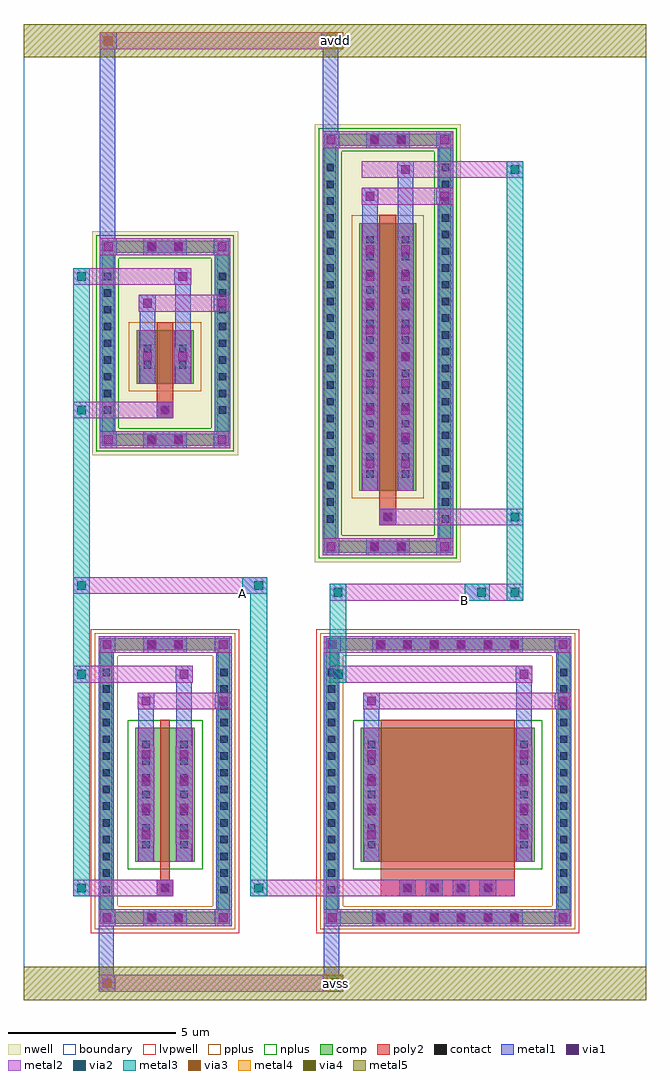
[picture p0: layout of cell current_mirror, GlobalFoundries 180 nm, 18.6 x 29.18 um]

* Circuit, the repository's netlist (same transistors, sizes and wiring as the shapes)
** sch_path: /foss/designs/CapiMagics/sch/current_mirror/current_mirror.sch
.subckt current_mirror avdd avss B A
*.PININFO Avdd:B Avss:B B:B A:B
M1 A A Avss Avss nfet_03v3 L=0.28u W=4u nf=1
M2 B A Avss Avss nfet_03v3 L=4u W=4u nf=1
M3 B B Avdd Avdd pfet_03v3 L=0.5u W=8u nf=1
M4 A A Avdd Avdd pfet_03v3 L=0.5u W=1.6u nf=1
.ends

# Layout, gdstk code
import gdstk
lib = gdstk.Library(unit=1e-6, precision=1e-09)
def R(c, l, rs):  # rectangles x0, y0, x1, y1
    for r in rs: c.add(gdstk.rectangle(r[:2], r[2:], *l))
def A(c, l, x, y, w, h, nx, ny, dx, dy):  # array of equal rectangles
    R(c, l, [(x+i*dx, y+j*dy, x+i*dx+w, y+j*dy+h) for i in range(nx) for j in range(ny)])
def P(c, l, *ps):  # polygons
    for p in ps: c.add(gdstk.Polygon(p, *l))
boundary = (0, 0)
nwell = (21, 0)
comp = (22, 0)
poly2 = (30, 0)
pplus = (31, 0)
nplus = (32, 0)
contact = (33, 0)
metal1 = (34, 0)
via1 = (35, 0)
metal2 = (36, 0)
via2 = (38, 0)
via3 = (40, 0)
via4 = (41, 0)
metal3 = (42, 0)
metal4 = (46, 0)
metal5 = (81, 0)
lvpwell = (204, 0)

c_m1 = lib.new_cell('M1')
A(c_m1, comp, -1.94, -3.43, 0.36, 0.36, 1, 14, 0, 0.5)
A(c_m1, comp, 1.58, -3.43, 0.36, 0.36, 1, 14, 0, 0.5)
R(c_m1, comp, [(-0.58,-4.265,-0.22,-3.905), (-0.58,-4.265,0.58,-3.905), (0.22,-4.265,0.58,-3.905), (-1.94,-3.43,-1.58,3.43), (1.58,-3.43,1.94,3.43), (-0.89,-2.405,0.89,1.595), (-0.58,3.905,-0.22,4.265), (-0.58,3.905,0.58,4.265), (0.22,3.905,0.58,4.265)])
P(c_m1, comp, [(-1.94,-4.265),(-1.94,-3.905),(-1.58,-3.905),(1.58,-3.905),(1.58,3.905),(-1.58,3.905),(-1.58,-3.905),(-1.94,-3.905),(-1.94,4.265),(1.94,4.265),(1.94,-4.265)])
R(c_m1, poly2, [(-0.25,-3.445,0.25,-2.945), (-0.18,-3.375,0.18,-3.015), (-0.14,-2.945,0.14,-2.645), (-0.14,-2.645,0.14,1.835)])
P(c_m1, pplus, [(-2.1,-4.425),(-2.1,-3.745),(-1.42,-3.745),(1.42,-3.745),(1.42,3.745),(-1.42,3.745),(-1.42,-3.745),(-2.1,-3.745),(-2.1,4.425),(2.1,4.425),(2.1,-4.425)])
R(c_m1, nplus, [(-1.12,-2.635,1.12,1.825)])
A(c_m1, contact, -1.87, -3.36, 0.22, 0.22, 1, 14, 0, 0.5)
A(c_m1, contact, 1.65, -3.36, 0.22, 0.22, 1, 14, 0, 0.5)
A(c_m1, contact, -0.68, -2.015, 0.22, 0.22, 1, 7, 0, 0.5)
A(c_m1, contact, 0.46, -2.015, 0.22, 0.22, 1, 7, 0, 0.5)
R(c_m1, contact, [(-0.51,-4.195,-0.29,-3.975), (0.29,-4.195,0.51,-3.975), (-0.11,-3.305,0.11,-3.085), (-0.51,3.975,-0.29,4.195), (0.29,3.975,0.51,4.195)])
A(c_m1, metal1, -1.99, -3.48, 0.46, 0.46, 1, 14, 0, 0.5)
A(c_m1, metal1, 1.53, -3.48, 0.46, 0.46, 1, 14, 0, 0.5)
A(c_m1, metal1, -0.8, -2.135, 0.46, 0.46, 1, 7, 0, 0.5)
A(c_m1, metal1, 0.34, -2.135, 0.46, 0.46, 1, 7, 0, 0.5)
A(c_m1, metal1, -0.82, -1.855, 0.5, 0.5, 1, 4, 0, 0.8)
A(c_m1, metal1, 0.32, -1.855, 0.5, 0.5, 1, 4, 0, 0.8)
R(c_m1, metal1, [(-1.99,-4.335,-1.49,-3.835), (-1.99,-4.335,-1.49,-3.835), (-1.99,-4.335,-1.53,-3.905), (-0.65,-4.335,-0.15,-3.835), (-0.65,-4.335,0.65,-3.835), (0.15,-4.335,0.65,-3.835), (1.49,-4.335,1.99,-3.835), (1.49,-4.335,1.99,-3.835), (1.53,-4.335,1.99,-3.905), (-1.99,-3.905,-1.53,3.905), (1.53,-3.905,1.99,3.905), (-0.25,-3.445,0.25,-2.945), (-0.8,-2.405,-0.34,1.595), (0.34,-2.405,0.8,1.595), (-0.82,-1.855,-0.32,1.045), (0.32,-1.855,0.82,1.045), (-0.8,1.595,-0.34,2.645), (0.34,1.595,0.8,3.445), (-0.82,2.145,-0.32,2.645), (0.32,2.945,0.82,3.445), (-1.99,3.835,-1.49,4.335), (-1.99,3.835,-1.49,4.335), (-0.65,3.835,-0.15,4.335), (-0.65,3.835,0.65,4.335), (0.15,3.835,0.65,4.335), (1.49,3.835,1.99,4.335), (1.49,3.835,1.99,4.335), (-1.99,3.905,-1.53,4.335), (1.53,3.905,1.99,4.335)])
A(c_m1, via1, -0.7, -1.735, 0.26, 0.26, 1, 4, 0, 0.8)
A(c_m1, via1, 0.44, -1.735, 0.26, 0.26, 1, 4, 0, 0.8)
R(c_m1, via1, [(-1.87,-4.215,-1.61,-3.955), (-0.53,-4.215,-0.27,-3.955), (0.27,-4.215,0.53,-3.955), (1.61,-4.215,1.87,-3.955), (-0.13,-3.325,0.13,-3.065), (-0.7,2.265,-0.44,2.525), (0.44,3.065,0.7,3.325), (-1.87,3.955,-1.61,4.215), (-0.53,3.955,-0.27,4.215), (0.27,3.955,0.53,4.215), (1.61,3.955,1.87,4.215)])
A(c_m1, metal2, -0.82, -1.855, 0.5, 0.5, 1, 4, 0, 0.8)
A(c_m1, metal2, 0.32, -1.855, 0.5, 0.5, 1, 4, 0, 0.8)
R(c_m1, metal2, [(-1.99,-4.335,-1.49,-3.835), (-1.99,-4.335,-1.49,-3.835), (-1.99,-4.335,-1.58,-3.835), (-1.58,-4.335,1.58,-3.835), (-0.65,-4.335,-0.15,-3.835), (0.15,-4.335,0.65,-3.835), (1.49,-4.335,1.99,-3.835), (1.49,-4.335,1.99,-3.835), (1.58,-4.335,1.99,-3.835), (-0.25,-3.445,0.25,-2.945), (-0.25,-3.445,0.25,-2.945), (-0.82,-2.405,-0.32,1.595), (0.32,-2.405,0.82,1.595), (-0.82,2.145,-0.32,2.645), (-0.82,2.145,0.82,2.645), (-0.82,2.945,0.82,3.445), (0.32,2.945,0.82,3.445), (-1.99,3.835,-1.49,4.335), (-1.99,3.835,-1.49,4.335), (-1.99,3.835,-1.58,4.335), (-1.58,3.835,1.58,4.335), (-0.65,3.835,-0.15,4.335), (0.15,3.835,0.65,4.335), (1.49,3.835,1.99,4.335), (1.49,3.835,1.99,4.335), (1.58,3.835,1.99,4.335)])
R(c_m1, lvpwell, [(-2.22,-4.545,2.22,4.545)])

c_m2 = lib.new_cell('M2')
A(c_m2, comp, -2.18, -4.265, 0.36, 0.36, 6, 2, 0.8, 8.17)
A(c_m2, comp, -3.65, -3.43, 0.36, 0.36, 1, 14, 0, 0.5)
A(c_m2, comp, 3.29, -3.43, 0.36, 0.36, 1, 14, 0, 0.5)
R(c_m2, comp, [(-2.18,-4.265,2.18,-3.905), (-3.65,-3.43,-3.29,3.43), (3.29,-3.43,3.65,3.43), (-2.6,-2.405,2.6,1.595), (-2.18,3.905,2.18,4.265)])
P(c_m2, comp, [(-3.65,-4.265),(-3.65,-3.905),(-3.29,-3.905),(3.29,-3.905),(3.29,3.905),(-3.29,3.905),(-3.29,-3.905),(-3.65,-3.905),(-3.65,4.265),(3.65,4.265),(3.65,-4.265)])
A(c_m2, poly2, -1.38, -3.375, 0.36, 0.36, 4, 1, 0.8, 0)
R(c_m2, poly2, [(-2,-3.445,2,-2.945), (-2,-2.945,2,-2.645), (-2,-2.645,2,1.835)])
P(c_m2, pplus, [(-3.81,-4.425),(-3.81,-3.745),(-3.13,-3.745),(3.13,-3.745),(3.13,3.745),(-3.13,3.745),(-3.13,-3.745),(-3.81,-3.745),(-3.81,4.425),(3.81,4.425),(3.81,-4.425)])
R(c_m2, nplus, [(-2.83,-2.635,2.83,1.825)])
A(c_m2, contact, -2.11, -4.195, 0.22, 0.22, 6, 2, 0.8, 8.17)
A(c_m2, contact, -3.58, -3.36, 0.22, 0.22, 1, 14, 0, 0.5)
A(c_m2, contact, 3.36, -3.36, 0.22, 0.22, 1, 14, 0, 0.5)
A(c_m2, contact, -1.31, -3.305, 0.22, 0.22, 4, 1, 0.8, 0)
A(c_m2, contact, -2.39, -2.015, 0.22, 0.22, 1, 7, 0, 0.5)
A(c_m2, contact, 2.17, -2.015, 0.22, 0.22, 1, 7, 0, 0.5)
A(c_m2, metal1, -2.25, -4.335, 0.5, 0.5, 6, 2, 0.8, 8.17)
A(c_m2, metal1, -3.7, -3.48, 0.46, 0.46, 1, 14, 0, 0.5)
A(c_m2, metal1, 3.24, -3.48, 0.46, 0.46, 1, 14, 0, 0.5)
A(c_m2, metal1, -1.45, -3.445, 0.5, 0.5, 4, 1, 0.8, 0)
A(c_m2, metal1, -2.51, -2.135, 0.46, 0.46, 1, 7, 0, 0.5)
A(c_m2, metal1, 2.05, -2.135, 0.46, 0.46, 1, 7, 0, 0.5)
A(c_m2, metal1, -2.53, -1.855, 0.5, 0.5, 1, 4, 0, 0.8)
A(c_m2, metal1, 2.03, -1.855, 0.5, 0.5, 1, 4, 0, 0.8)
R(c_m2, metal1, [(-3.7,-4.335,-3.2,-3.835), (-3.7,-4.335,-3.2,-3.835), (-3.7,-4.335,-3.24,-3.905), (-2.25,-4.335,2.25,-3.835), (3.2,-4.335,3.7,-3.835), (3.2,-4.335,3.7,-3.835), (3.24,-4.335,3.7,-3.905), (-3.7,-3.905,-3.24,3.905), (3.24,-3.905,3.7,3.905), (-2.51,-2.405,-2.05,1.595), (2.05,-2.405,2.51,1.595), (-2.53,-1.855,-2.03,1.045), (2.03,-1.855,2.53,1.045), (-2.51,1.595,-2.05,2.645), (2.05,1.595,2.51,3.445), (-2.53,2.145,-2.03,2.645), (2.03,2.945,2.53,3.445), (-3.7,3.835,-3.2,4.335), (-3.7,3.835,-3.2,4.335), (-2.25,3.835,2.25,4.335), (3.2,3.835,3.7,4.335), (3.2,3.835,3.7,4.335), (-3.7,3.905,-3.24,4.335), (3.24,3.905,3.7,4.335)])
A(c_m2, via1, -2.13, -4.215, 0.26, 0.26, 6, 2, 0.8, 8.17)
A(c_m2, via1, -1.33, -3.325, 0.26, 0.26, 4, 1, 0.8, 0)
A(c_m2, via1, -2.41, -1.735, 0.26, 0.26, 1, 4, 0, 0.8)
A(c_m2, via1, 2.15, -1.735, 0.26, 0.26, 1, 4, 0, 0.8)
R(c_m2, via1, [(-3.58,-4.215,-3.32,-3.955), (3.32,-4.215,3.58,-3.955), (-2.41,2.265,-2.15,2.525), (2.15,3.065,2.41,3.325), (-3.58,3.955,-3.32,4.215), (3.32,3.955,3.58,4.215)])
A(c_m2, metal2, -2.25, -4.335, 0.5, 0.5, 6, 2, 0.8, 8.17)
A(c_m2, metal2, -1.45, -3.445, 0.5, 0.5, 4, 1, 0.8, 0)
A(c_m2, metal2, -2.53, -1.855, 0.5, 0.5, 1, 4, 0, 0.8)
A(c_m2, metal2, 2.03, -1.855, 0.5, 0.5, 1, 4, 0, 0.8)
R(c_m2, metal2, [(-3.7,-4.335,-3.2,-3.835), (-3.7,-4.335,-3.2,-3.835), (-3.7,-4.335,-3.29,-3.835), (-3.29,-4.335,3.29,-3.835), (3.2,-4.335,3.7,-3.835), (3.2,-4.335,3.7,-3.835), (3.29,-4.335,3.7,-3.835), (-2,-3.445,2,-2.945), (-2.53,-2.405,-2.03,1.595), (2.03,-2.405,2.53,1.595), (-2.53,2.145,-2.03,2.645), (-2.53,2.145,2.53,2.645), (-2.53,2.945,2.53,3.445), (2.03,2.945,2.53,3.445), (-3.7,3.835,-3.2,4.335), (-3.7,3.835,-3.2,4.335), (-3.7,3.835,-3.29,4.335), (-3.29,3.835,3.29,4.335), (3.2,3.835,3.7,4.335), (3.2,3.835,3.7,4.335), (3.29,3.835,3.7,4.335)])
R(c_m2, lvpwell, [(-3.93,-4.545,3.93,4.545)])

c_m3 = lib.new_cell('M3')
R(c_m3, nwell, [(-2.18,-6.545,2.18,6.545), (-2.02,-6.385,2.02,6.385)])
A(c_m3, comp, -1.9, -5.43, 0.36, 0.36, 1, 22, 0, 0.5)
A(c_m3, comp, 1.54, -5.43, 0.36, 0.36, 1, 22, 0, 0.5)
R(c_m3, comp, [(-0.58,-6.265,-0.22,-5.905), (-0.58,-6.265,0.58,-5.905), (0.22,-6.265,0.58,-5.905), (-1.9,-5.43,-1.54,5.43), (1.54,-5.43,1.9,5.43), (-0.85,-4.405,0.85,3.595), (-0.58,5.905,-0.22,6.265), (-0.58,5.905,0.58,6.265), (0.22,5.905,0.58,6.265)])
P(c_m3, comp, [(-1.9,-6.265),(-1.9,-5.905),(-1.54,-5.905),(1.54,-5.905),(1.54,5.905),(-1.54,5.905),(-1.54,-5.905),(-1.9,-5.905),(-1.9,6.265),(1.9,6.265),(1.9,-6.265)])
R(c_m3, poly2, [(-0.25,-5.445,0.25,-4.945), (-0.18,-5.375,0.18,-5.015), (-0.25,-4.945,0.25,-4.645), (-0.25,-4.645,0.25,3.835)])
R(c_m3, pplus, [(-1.08,-4.635,1.08,3.825)])
P(c_m3, nplus, [(-2.06,-6.425),(-2.06,-5.745),(-1.38,-5.745),(1.38,-5.745),(1.38,5.745),(-1.38,5.745),(-1.38,-5.745),(-2.06,-5.745),(-2.06,6.425),(2.06,6.425),(2.06,-6.425)])
A(c_m3, contact, -1.83, -5.36, 0.22, 0.22, 1, 22, 0, 0.5)
A(c_m3, contact, 1.61, -5.36, 0.22, 0.22, 1, 22, 0, 0.5)
A(c_m3, contact, -0.64, -4.015, 0.22, 0.22, 1, 15, 0, 0.5)
A(c_m3, contact, 0.42, -4.015, 0.22, 0.22, 1, 15, 0, 0.5)
R(c_m3, contact, [(-0.51,-6.195,-0.29,-5.975), (0.29,-6.195,0.51,-5.975), (-0.11,-5.305,0.11,-5.085), (-0.51,5.975,-0.29,6.195), (0.29,5.975,0.51,6.195)])
A(c_m3, metal1, -1.95, -5.48, 0.46, 0.46, 1, 22, 0, 0.5)
A(c_m3, metal1, 1.49, -5.48, 0.46, 0.46, 1, 22, 0, 0.5)
A(c_m3, metal1, -0.76, -4.135, 0.46, 0.46, 1, 15, 0, 0.5)
A(c_m3, metal1, 0.3, -4.135, 0.46, 0.46, 1, 15, 0, 0.5)
A(c_m3, metal1, -0.78, -3.855, 0.5, 0.5, 1, 9, 0, 0.8)
A(c_m3, metal1, 0.28, -3.855, 0.5, 0.5, 1, 9, 0, 0.8)
R(c_m3, metal1, [(-1.95,-6.335,-1.45,-5.835), (-1.95,-6.335,-1.45,-5.835), (-1.95,-6.335,-1.49,-5.905), (-0.65,-6.335,-0.15,-5.835), (-0.65,-6.335,0.65,-5.835), (0.15,-6.335,0.65,-5.835), (1.45,-6.335,1.95,-5.835), (1.45,-6.335,1.95,-5.835), (1.49,-6.335,1.95,-5.905), (-1.95,-5.905,-1.49,5.905), (1.49,-5.905,1.95,5.905), (-0.25,-5.445,0.25,-4.945), (-0.76,-4.405,-0.3,3.595), (0.3,-4.405,0.76,3.595), (-0.78,-3.855,-0.28,3.045), (0.28,-3.855,0.78,3.045), (-0.76,3.595,-0.3,4.645), (0.3,3.595,0.76,5.445), (-0.78,4.145,-0.28,4.645), (0.28,4.945,0.78,5.445), (-1.95,5.835,-1.45,6.335), (-1.95,5.835,-1.45,6.335), (-0.65,5.835,-0.15,6.335), (-0.65,5.835,0.65,6.335), (0.15,5.835,0.65,6.335), (1.45,5.835,1.95,6.335), (1.45,5.835,1.95,6.335), (-1.95,5.905,-1.49,6.335), (1.49,5.905,1.95,6.335)])
A(c_m3, via1, -0.66, -3.735, 0.26, 0.26, 1, 9, 0, 0.8)
A(c_m3, via1, 0.4, -3.735, 0.26, 0.26, 1, 9, 0, 0.8)
R(c_m3, via1, [(-1.83,-6.215,-1.57,-5.955), (-0.53,-6.215,-0.27,-5.955), (0.27,-6.215,0.53,-5.955), (1.57,-6.215,1.83,-5.955), (-0.13,-5.325,0.13,-5.065), (-0.66,4.265,-0.4,4.525), (0.4,5.065,0.66,5.325), (-1.83,5.955,-1.57,6.215), (-0.53,5.955,-0.27,6.215), (0.27,5.955,0.53,6.215), (1.57,5.955,1.83,6.215)])
A(c_m3, metal2, -0.78, -3.855, 0.5, 0.5, 1, 9, 0, 0.8)
A(c_m3, metal2, 0.28, -3.855, 0.5, 0.5, 1, 9, 0, 0.8)
R(c_m3, metal2, [(-1.95,-6.335,-1.45,-5.835), (-1.95,-6.335,-1.45,-5.835), (-1.95,-6.335,-1.54,-5.835), (-1.54,-6.335,1.54,-5.835), (-0.65,-6.335,-0.15,-5.835), (0.15,-6.335,0.65,-5.835), (1.45,-6.335,1.95,-5.835), (1.45,-6.335,1.95,-5.835), (1.54,-6.335,1.95,-5.835), (-0.25,-5.445,0.25,-4.945), (-0.25,-5.445,0.25,-4.945), (-0.78,-4.405,-0.28,3.595), (0.28,-4.405,0.78,3.595), (-0.78,4.145,-0.28,4.645), (-0.78,4.145,0.78,4.645), (-0.78,4.945,0.78,5.445), (0.28,4.945,0.78,5.445), (-1.95,5.835,-1.45,6.335), (-1.95,5.835,-1.45,6.335), (-1.95,5.835,-1.54,6.335), (-1.54,5.835,1.54,6.335), (-0.65,5.835,-0.15,6.335), (0.15,5.835,0.65,6.335), (1.45,5.835,1.95,6.335), (1.45,5.835,1.95,6.335), (1.54,5.835,1.95,6.335)])

c_m4 = lib.new_cell('M4')
R(c_m4, nwell, [(-2.18,-3.345,2.18,3.345), (-2.02,-3.185,2.02,3.185)])
A(c_m4, comp, -1.9, -2.18, 0.36, 0.36, 1, 9, 0, 0.5)
A(c_m4, comp, 1.54, -2.18, 0.36, 0.36, 1, 9, 0, 0.5)
R(c_m4, comp, [(-0.58,-3.065,-0.22,-2.705), (-0.58,-3.065,0.58,-2.705), (0.22,-3.065,0.58,-2.705), (-1.9,-2.18,-1.54,2.18), (1.54,-2.18,1.9,2.18), (-0.85,-1.205,0.85,0.395), (-0.58,2.705,-0.22,3.065), (-0.58,2.705,0.58,3.065), (0.22,2.705,0.58,3.065)])
P(c_m4, comp, [(-1.9,-3.065),(-1.9,-2.705),(-1.54,-2.705),(1.54,-2.705),(1.54,2.705),(-1.54,2.705),(-1.54,-2.705),(-1.9,-2.705),(-1.9,3.065),(1.9,3.065),(1.9,-3.065)])
R(c_m4, poly2, [(-0.25,-2.245,0.25,-1.745), (-0.18,-2.175,0.18,-1.815), (-0.25,-1.745,0.25,-1.445), (-0.25,-1.445,0.25,0.635)])
R(c_m4, pplus, [(-1.08,-1.435,1.08,0.625)])
P(c_m4, nplus, [(-2.06,-3.225),(-2.06,-2.545),(-1.38,-2.545),(1.38,-2.545),(1.38,2.545),(-1.38,2.545),(-1.38,-2.545),(-2.06,-2.545),(-2.06,3.225),(2.06,3.225),(2.06,-3.225)])
A(c_m4, contact, -1.83, -2.11, 0.22, 0.22, 1, 9, 0, 0.5)
A(c_m4, contact, 1.61, -2.11, 0.22, 0.22, 1, 9, 0, 0.5)
R(c_m4, contact, [(-0.51,-2.995,-0.29,-2.775), (0.29,-2.995,0.51,-2.775), (-0.11,-2.105,0.11,-1.885), (-0.64,-0.765,-0.42,-0.545), (0.42,-0.765,0.64,-0.545), (-0.64,-0.265,-0.42,-0.045), (0.42,-0.265,0.64,-0.045), (-0.51,2.775,-0.29,2.995), (0.29,2.775,0.51,2.995)])
A(c_m4, metal1, -1.95, -2.23, 0.46, 0.46, 1, 9, 0, 0.5)
A(c_m4, metal1, 1.49, -2.23, 0.46, 0.46, 1, 9, 0, 0.5)
R(c_m4, metal1, [(-1.95,-3.135,-1.45,-2.635), (-1.95,-3.135,-1.45,-2.635), (-1.95,-3.135,-1.49,-2.705), (-0.65,-3.135,-0.15,-2.635), (-0.65,-3.135,0.65,-2.635), (0.15,-3.135,0.65,-2.635), (1.45,-3.135,1.95,-2.635), (1.45,-3.135,1.95,-2.635), (1.49,-3.135,1.95,-2.705), (-1.95,-2.705,-1.49,2.705), (1.49,-2.705,1.95,2.705), (-0.25,-2.245,0.25,-1.745), (-0.76,-1.205,-0.3,0.395), (0.3,-1.205,0.76,0.395), (-0.76,-0.885,-0.3,-0.425), (0.3,-0.885,0.76,-0.425), (-0.78,-0.655,-0.28,-0.155), (-0.78,-0.655,-0.28,-0.155), (0.28,-0.655,0.78,-0.155), (0.28,-0.655,0.78,-0.155), (-0.76,-0.385,-0.3,0.075), (0.3,-0.385,0.76,0.075), (-0.76,0.395,-0.3,1.445), (0.3,0.395,0.76,2.245), (-0.78,0.945,-0.28,1.445), (0.28,1.745,0.78,2.245), (-1.95,2.635,-1.45,3.135), (-1.95,2.635,-1.45,3.135), (-0.65,2.635,-0.15,3.135), (-0.65,2.635,0.65,3.135), (0.15,2.635,0.65,3.135), (1.45,2.635,1.95,3.135), (1.45,2.635,1.95,3.135), (-1.95,2.705,-1.49,3.135), (1.49,2.705,1.95,3.135)])
R(c_m4, via1, [(-1.83,-3.015,-1.57,-2.755), (-0.53,-3.015,-0.27,-2.755), (0.27,-3.015,0.53,-2.755), (1.57,-3.015,1.83,-2.755), (-0.13,-2.125,0.13,-1.865), (-0.66,-0.535,-0.4,-0.275), (0.4,-0.535,0.66,-0.275), (-0.66,1.065,-0.4,1.325), (0.4,1.865,0.66,2.125), (-1.83,2.755,-1.57,3.015), (-0.53,2.755,-0.27,3.015), (0.27,2.755,0.53,3.015), (1.57,2.755,1.83,3.015)])
R(c_m4, metal2, [(-1.95,-3.135,-1.45,-2.635), (-1.95,-3.135,-1.45,-2.635), (-1.95,-3.135,-1.54,-2.635), (-1.54,-3.135,1.54,-2.635), (-0.65,-3.135,-0.15,-2.635), (0.15,-3.135,0.65,-2.635), (1.45,-3.135,1.95,-2.635), (1.45,-3.135,1.95,-2.635), (1.54,-3.135,1.95,-2.635), (-0.25,-2.245,0.25,-1.745), (-0.25,-2.245,0.25,-1.745), (-0.78,-1.205,-0.28,0.395), (0.28,-1.205,0.78,0.395), (-0.78,-0.655,-0.28,-0.155), (0.28,-0.655,0.78,-0.155), (-0.78,0.945,-0.28,1.445), (-0.78,0.945,0.78,1.445), (-0.78,1.745,0.78,2.245), (0.28,1.745,0.78,2.245), (-1.95,2.635,-1.45,3.135), (-1.95,2.635,-1.45,3.135), (-1.95,2.635,-1.54,3.135), (-1.54,2.635,1.54,3.135), (-0.65,2.635,-0.15,3.135), (0.15,2.635,0.65,3.135), (1.45,2.635,1.95,3.135), (1.45,2.635,1.95,3.135), (1.54,2.635,1.95,3.135)])

compass_8b261e8c = lib.new_cell('compass_8b261e8c')
R(compass_8b261e8c, metal5, [(-9.3,-0.5,9.3,0.5)])

rectangle_8b261e8c = lib.new_cell('rectangle_8b261e8c')
rectangle_8b261e8c.add(gdstk.Reference(compass_8b261e8c, (9.3,0.5)))

compass_8b261e8c_1 = lib.new_cell('compass_8b261e8c$1')
R(compass_8b261e8c_1, metal5, [(-9.3,-0.5,9.3,0.5)])

rectangle_8b261e8c_1 = lib.new_cell('rectangle_8b261e8c$1')
rectangle_8b261e8c_1.add(gdstk.Reference(compass_8b261e8c_1, (9.3,0.5)))

via_stack_b843013f = lib.new_cell('via_stack_b843013f')
R(via_stack_b843013f, metal2, [(-0.25,-0.25,0.25,0.25)])
R(via_stack_b843013f, via2, [(-0.13,-0.13,0.13,0.13)])
R(via_stack_b843013f, via3, [(-0.13,-0.13,0.13,0.13)])
R(via_stack_b843013f, via4, [(-0.13,-0.13,0.13,0.13)])
R(via_stack_b843013f, metal3, [(-0.25,-0.25,0.25,0.25)])
R(via_stack_b843013f, metal4, [(-0.25,-0.25,0.25,0.25)])
R(via_stack_b843013f, metal5, [(-0.25,-0.25,0.25,0.25)])

via_stack_7490b2b5 = lib.new_cell('via_stack_7490b2b5')
R(via_stack_7490b2b5, metal2, [(-0.25,-0.25,0.25,0.25)])
R(via_stack_7490b2b5, via2, [(-0.13,-0.13,0.13,0.13)])
R(via_stack_7490b2b5, metal3, [(-0.25,-0.25,0.25,0.25)])

compass_2d1cdd23_2 = lib.new_cell('compass_2d1cdd23$2')
R(compass_2d1cdd23_2, metal3, [(-0.25,-0.25,0.25,0.25)])

rectangle_2d1cdd23 = lib.new_cell('rectangle_2d1cdd23')
rectangle_2d1cdd23.add(gdstk.Reference(compass_2d1cdd23_2, (0.25,0.25)))

compass_2d1cdd23_3 = lib.new_cell('compass_2d1cdd23$3')
R(compass_2d1cdd23_3, metal3, [(-0.25,-0.25,0.25,0.25)])

rectangle_2d1cdd23_1 = lib.new_cell('rectangle_2d1cdd23$1')
rectangle_2d1cdd23_1.add(gdstk.Reference(compass_2d1cdd23_3, (0.25,0.25)))

l_route_babc5dad = lib.new_cell('L_route_babc5dad')
R(l_route_babc5dad, metal1, [(2.27,22.34,2.73,28.93), (2.27,28.43,2.77,28.93), (2.27,28.43,2.77,28.93)])
R(l_route_babc5dad, via1, [(2.39,28.55,2.65,28.81)])
R(l_route_babc5dad, metal2, [(2.27,28.43,9.05,28.93), (2.27,28.43,2.77,28.93), (2.27,28.43,2.77,28.93)])

l_route_c3dc7d82 = lib.new_cell('L_route_c3dc7d82')
R(l_route_c3dc7d82, metal1, [(8.93,25.54,9.39,28.93), (8.89,28.43,9.39,28.93), (8.89,28.43,9.39,28.93)])
R(l_route_c3dc7d82, via1, [(9.01,28.55,9.27,28.81)])
R(l_route_c3dc7d82, metal2, [(8.89,28.43,9.39,28.93), (8.89,28.43,9.39,28.93), (9.05,28.43,9.39,28.93)])

l_route_7ceaaa28 = lib.new_cell('L_route_7ceaaa28')
R(l_route_7ceaaa28, metal1, [(2.23,0.25,2.73,0.75), (2.23,0.25,2.73,0.75), (2.23,0.25,2.69,2.64)])
R(l_route_7ceaaa28, via1, [(2.35,0.37,2.61,0.63)])
R(l_route_7ceaaa28, metal2, [(2.23,0.25,9.05,0.75), (2.23,0.25,2.73,0.75), (2.23,0.25,2.73,0.75)])

l_route_6242e444 = lib.new_cell('L_route_6242e444')
R(l_route_6242e444, metal1, [(8.93,0.25,9.43,0.75), (8.93,0.25,9.43,0.75), (8.97,0.25,9.43,2.64)])
R(l_route_6242e444, via1, [(9.05,0.37,9.31,0.63)])
R(l_route_6242e444, metal2, [(8.93,0.25,9.43,0.75), (8.93,0.25,9.43,0.75), (9.05,0.25,9.43,0.75)])

l_route_52e29371 = lib.new_cell('L_route_52e29371')
R(l_route_52e29371, metal1, [(5.67,20.58,6.17,21.08), (5.67,20.58,6.17,21.08), (5.71,20.58,6.17,22.34)])
R(l_route_52e29371, via1, [(5.79,20.7,6.05,20.96)])
R(l_route_52e29371, metal2, [(5,20.58,6.17,21.08), (5.67,20.58,6.17,21.08), (5.67,20.58,6.17,21.08)])

l_route_c11b9073 = lib.new_cell('L_route_c11b9073')
R(l_route_c11b9073, metal1, [(12.33,23.78,12.83,24.28), (12.33,23.78,12.83,24.28), (12.37,23.78,12.83,25.54)])
R(l_route_c11b9073, via1, [(12.45,23.9,12.71,24.16)])
R(l_route_c11b9073, metal2, [(11.66,23.78,12.83,24.28), (12.33,23.78,12.83,24.28), (12.33,23.78,12.83,24.28)])

l_route_99e16b85 = lib.new_cell('L_route_99e16b85')
R(l_route_99e16b85, metal1, [(5.71,8.69,6.21,9.19), (5.71,8.69,6.21,9.19), (5.75,8.69,6.21,10.45)])
R(l_route_99e16b85, via1, [(5.83,8.81,6.09,9.07)])
R(l_route_99e16b85, metal2, [(5.04,8.69,6.21,9.19), (5.71,8.69,6.21,9.19), (5.71,8.69,6.21,9.19)])

l_route_744edc86 = lib.new_cell('L_route_744edc86')
R(l_route_744edc86, metal1, [(15.87,8.69,16.37,9.19), (15.87,8.69,16.37,9.19), (15.91,8.69,16.37,10.45)])
R(l_route_744edc86, via1, [(15.99,8.81,16.25,9.07)])
R(l_route_744edc86, metal2, [(15.2,8.69,16.37,9.19), (15.87,8.69,16.37,9.19), (15.87,8.69,16.37,9.19)])

l_route_0a6f998d = lib.new_cell('L_route_0a6f998d')
R(l_route_0a6f998d, metal2, [(1.47,21.38,3.44,21.88), (1.47,21.38,1.97,21.88), (1.47,21.38,1.97,21.88)])
R(l_route_0a6f998d, via2, [(1.59,21.5,1.85,21.76)])
R(l_route_0a6f998d, metal3, [(1.47,12.64,1.97,21.88), (1.47,21.38,1.97,21.88), (1.47,21.38,1.97,21.88)])

l_route_3df3e137 = lib.new_cell('L_route_3df3e137')
R(l_route_3df3e137, metal2, [(1.47,9.49,3.4,9.99), (1.47,9.49,1.97,9.99), (1.47,9.49,1.97,9.99)])
R(l_route_3df3e137, via2, [(1.59,9.61,1.85,9.87)])
R(l_route_3df3e137, metal3, [(1.47,9.49,1.97,9.99), (1.47,9.49,1.97,9.99), (1.47,9.49,1.97,12.14)])

l_route_765d21c5 = lib.new_cell('L_route_765d21c5')
R(l_route_765d21c5, metal2, [(1.47,17.39,3.97,17.89), (1.47,17.39,1.97,17.89), (1.47,17.39,1.97,17.89)])
R(l_route_765d21c5, via2, [(1.59,17.51,1.85,17.77)])
R(l_route_765d21c5, metal3, [(1.47,12.64,1.97,17.89), (1.47,17.39,1.97,17.89), (1.47,17.39,1.97,17.89)])

l_route_40add905 = lib.new_cell('L_route_40add905')
R(l_route_40add905, metal2, [(1.47,3.1,3.97,3.6), (1.47,3.1,1.97,3.6), (1.47,3.1,1.97,3.6)])
R(l_route_40add905, via2, [(1.59,3.22,1.85,3.48)])
R(l_route_40add905, metal3, [(1.47,3.1,1.97,3.6), (1.47,3.1,1.97,3.6), (1.47,3.1,1.97,12.14)])

straight_route_1fb11910 = lib.new_cell('straight_route_1fb11910')
R(straight_route_1fb11910, metal2, [(1.47,12.14,7.27,12.64)])

l_route_8bba4d43 = lib.new_cell('L_route_8bba4d43')
R(l_route_8bba4d43, metal2, [(6.77,3.1,10.67,3.6), (6.77,3.1,7.27,3.6), (6.77,3.1,7.27,3.6)])
R(l_route_8bba4d43, via2, [(6.89,3.22,7.15,3.48)])
R(l_route_8bba4d43, metal3, [(6.77,3.1,7.27,3.6), (6.77,3.1,7.27,3.6), (6.77,3.1,7.27,12.14)])

c_route_6e607a6f = lib.new_cell('c_route_6e607a6f')
R(c_route_6e607a6f, metal2, [(13.93,11.94,14.93,12.44), (14.43,11.94,14.93,12.44), (11.66,24.58,14.93,25.08), (14.43,24.58,14.93,25.08)])
R(c_route_6e607a6f, via2, [(14.55,12.06,14.81,12.32), (14.55,24.7,14.81,24.96)])
R(c_route_6e607a6f, metal3, [(14.43,11.94,14.93,12.44), (14.43,11.94,14.93,12.44), (14.43,11.94,14.93,25.08), (14.43,24.58,14.93,25.08), (14.43,24.58,14.93,25.08)])
P(c_route_6e607a6f, metal3, [(14.93,11.94),(14.93,12.44),(14.93,12.44),(14.93,11.94)],
  [(14.93,24.58),(14.93,25.08),(14.93,25.08),(14.93,24.58)])

c_route_0599a592 = lib.new_cell('c_route_0599a592')
R(c_route_0599a592, metal2, [(13.93,11.94,14.93,12.44), (14.43,11.94,14.93,12.44), (11.13,14.19,14.93,14.69), (14.43,14.19,14.93,14.69)])
R(c_route_0599a592, via2, [(14.55,12.06,14.81,12.32), (14.55,14.31,14.81,14.57)])
R(c_route_0599a592, metal3, [(14.43,11.94,14.93,12.44), (14.43,11.94,14.93,12.44), (14.43,11.94,14.93,14.69), (14.43,14.19,14.93,14.69), (14.43,14.19,14.93,14.69)])
P(c_route_0599a592, metal3, [(14.93,11.94),(14.93,12.44),(14.93,12.44),(14.93,11.94)],
  [(14.93,14.19),(14.93,14.69),(14.93,14.69),(14.93,14.19)])

c_route_6fced6d3 = lib.new_cell('c_route_6fced6d3')
R(c_route_6fced6d3, metal2, [(9.14,9.49,10.14,9.99), (9.14,9.49,9.64,9.99), (9.14,11.94,9.64,12.44), (9.14,11.94,13.43,12.44)])
R(c_route_6fced6d3, via2, [(9.26,9.61,9.52,9.87), (9.26,12.06,9.52,12.32)])
R(c_route_6fced6d3, metal3, [(9.14,9.49,9.64,9.99), (9.14,9.49,9.64,9.99), (9.14,9.49,9.64,12.44), (9.14,11.94,9.64,12.44), (9.14,11.94,9.64,12.44)])
P(c_route_6fced6d3, metal3, [(9.64,9.49),(9.64,9.99),(9.64,9.99),(9.64,9.49)],
  [(9.64,11.94),(9.64,12.44),(9.64,12.44),(9.64,11.94)])

current_mirror = lib.new_cell('current_mirror')
R(current_mirror, boundary, [(0,0,18.6,29.18)])
current_mirror.add(gdstk.Reference(c_m1, (4.22,6.545)))
current_mirror.add(gdstk.Reference(c_m2, (12.67,6.545)))
current_mirror.add(gdstk.Reference(c_m3, (10.88,19.635)))
current_mirror.add(gdstk.Reference(c_m4, (4.22,19.635)))
current_mirror.add(gdstk.Reference(rectangle_8b261e8c, (0,28.18)))
current_mirror.add(gdstk.Reference(rectangle_8b261e8c_1, (0,0)))
current_mirror.add(gdstk.Reference(via_stack_b843013f, (9.3,28.68)))
current_mirror.add(gdstk.Reference(via_stack_b843013f, (9.3,0.5)))
current_mirror.add(gdstk.Reference(via_stack_7490b2b5, (7.02,12.39)))
current_mirror.add(gdstk.Reference(via_stack_7490b2b5, (1.72,12.39)))
current_mirror.add(gdstk.Reference(via_stack_7490b2b5, (13.68,12.19)))
current_mirror.add(gdstk.Reference(rectangle_2d1cdd23, (6.52,12.14)))
current_mirror.add(gdstk.Reference(rectangle_2d1cdd23_1, (13.18,11.94)))
current_mirror.add(gdstk.Reference(l_route_babc5dad, (0,0)))
current_mirror.add(gdstk.Reference(l_route_c3dc7d82, (0,0)))
current_mirror.add(gdstk.Reference(l_route_7ceaaa28, (0,0)))
current_mirror.add(gdstk.Reference(l_route_6242e444, (0,0)))
current_mirror.add(gdstk.Reference(l_route_52e29371, (0,0)))
current_mirror.add(gdstk.Reference(l_route_c11b9073, (0,0)))
current_mirror.add(gdstk.Reference(l_route_99e16b85, (0,0)))
current_mirror.add(gdstk.Reference(l_route_744edc86, (0,0)))
current_mirror.add(gdstk.Reference(l_route_0a6f998d, (0,0)))
current_mirror.add(gdstk.Reference(l_route_3df3e137, (0,0)))
current_mirror.add(gdstk.Reference(l_route_765d21c5, (0,0)))
current_mirror.add(gdstk.Reference(l_route_40add905, (0,0)))
current_mirror.add(gdstk.Reference(straight_route_1fb11910, (0,0)))
current_mirror.add(gdstk.Reference(l_route_8bba4d43, (0,0)))
current_mirror.add(gdstk.Reference(c_route_6e607a6f, (0,0)))
current_mirror.add(gdstk.Reference(c_route_0599a592, (0,0)))
current_mirror.add(gdstk.Reference(c_route_6fced6d3, (0,0)))
current_mirror.add(gdstk.Label('avss', (9.3,0.5), layer=81, texttype=10))
current_mirror.add(gdstk.Label('avdd', (9.3,28.68), layer=81, texttype=10))
current_mirror.add(gdstk.Label('A', (6.52,12.14), layer=42, texttype=10))
current_mirror.add(gdstk.Label('B', (13.18,11.94), layer=42, texttype=10))

lib.write_gds('current_mirror.gds')
